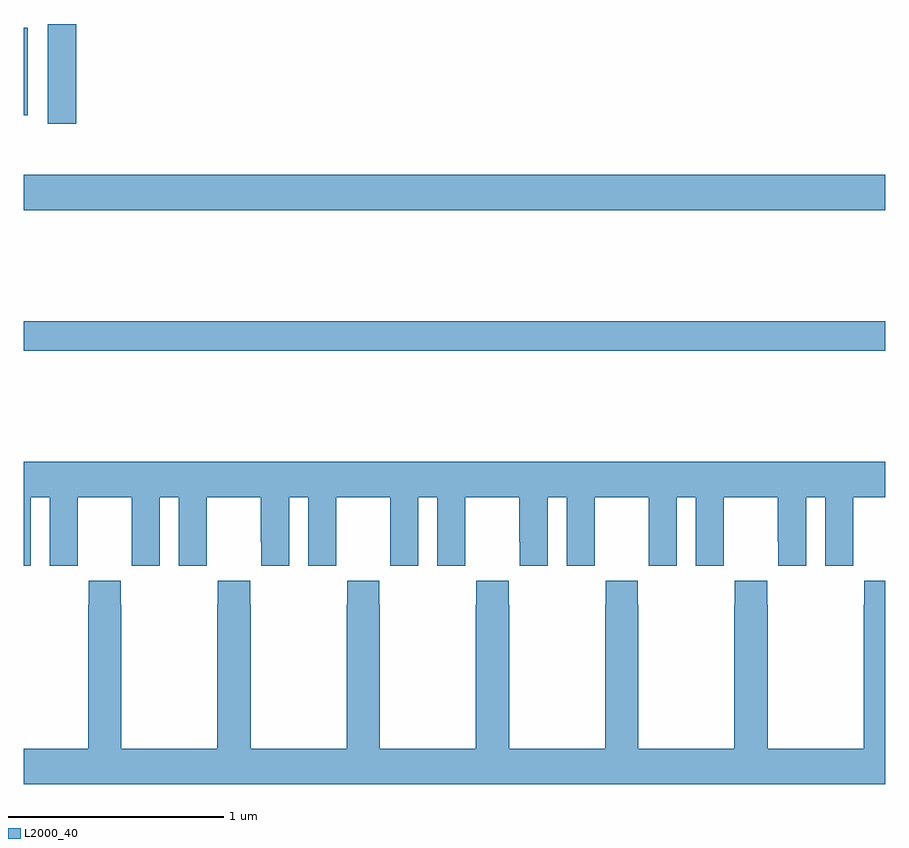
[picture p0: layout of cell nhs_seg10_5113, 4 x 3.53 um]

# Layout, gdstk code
import gdstk
lib = gdstk.Library(unit=1e-6, precision=1e-09)
def R(c, l, rs):  # rectangles x0, y0, x1, y1
    for r in rs: c.add(gdstk.rectangle(r[:2], r[2:], *l))
def P(c, l, *ps):  # polygons
    for p in ps: c.add(gdstk.Polygon(p, *l))
L2000_40 = (2000, 40)

nhs_seg10_5113 = lib.new_cell('nhs_seg10_5113')
R(nhs_seg10_5113, L2000_40, [(407,1312.984,411,1313.12), (407,1313.636,411,1313.8), (407.111,1314.036,407.243,1314.5), (407,1314.077,407.02,1314.482)])
P(nhs_seg10_5113, L2000_40, [(407,1311.984),(407.032,1311.984),(407.032,1312.304),(407.12,1312.304),(407.12,1311.984),(407.25,1311.984),(407.25,1312.096),(407.251,1312.096),(407.251,1312.304),(407.501,1312.304),(407.501,1312.096),(407.502,1312.096),(407.502,1311.984),(407.632,1311.984),(407.632,1312.304),(407.72,1312.304),(407.72,1311.984),(407.85,1311.984),(407.85,1312.096),(407.851,1312.096),(407.851,1312.304),(408.101,1312.304),(408.101,1312.096),(408.102,1312.096),(408.102,1311.984),(408.232,1311.984),(408.232,1312.304),(408.32,1312.304),(408.32,1311.984),(408.45,1311.984),(408.45,1312.096),(408.451,1312.096),(408.451,1312.304),(408.701,1312.304),(408.701,1312.096),(408.702,1312.096),(408.702,1311.984),(408.832,1311.984),(408.832,1312.304),(408.92,1312.304),(408.92,1311.984),(409.05,1311.984),(409.05,1312.096),(409.051,1312.096),(409.051,1312.304),(409.301,1312.304),(409.301,1312.096),(409.302,1312.096),(409.302,1311.984),(409.432,1311.984),(409.432,1312.304),(409.52,1312.304),(409.52,1311.984),(409.65,1311.984),(409.65,1312.096),(409.651,1312.096),(409.651,1312.304),(409.901,1312.304),(409.901,1312.096),(409.902,1312.096),(409.902,1311.984),(410.032,1311.984),(410.032,1312.304),(410.12,1312.304),(410.12,1311.984),(410.25,1311.984),(410.25,1312.096),(410.251,1312.096),(410.251,1312.304),(410.501,1312.304),(410.501,1312.096),(410.502,1312.096),(410.502,1311.984),(410.632,1311.984),(410.632,1312.304),(410.72,1312.304),(410.72,1311.984),(410.85,1311.984),(410.85,1312.096),(410.851,1312.096),(410.851,1312.304),(411,1312.304),(411,1312.468),(407,1312.468)],
  [(407.451,1311.803),(407.451,1311.916),(407.301,1311.916),(407.301,1311.803),(407.299,1311.803),(407.299,1311.136),(407,1311.136),(407,1310.972),(411,1310.972),(411,1311.916),(410.901,1311.916),(410.901,1311.803),(410.899,1311.803),(410.899,1311.136),(410.454,1311.136),(410.454,1311.803),(410.451,1311.803),(410.451,1311.916),(410.301,1311.916),(410.301,1311.803),(410.299,1311.803),(410.299,1311.136),(409.854,1311.136),(409.854,1311.803),(409.851,1311.803),(409.851,1311.916),(409.701,1311.916),(409.701,1311.803),(409.699,1311.803),(409.699,1311.136),(409.254,1311.136),(409.254,1311.803),(409.251,1311.803),(409.251,1311.916),(409.101,1311.916),(409.101,1311.803),(409.099,1311.803),(409.099,1311.136),(408.654,1311.136),(408.654,1311.803),(408.651,1311.803),(408.651,1311.916),(408.501,1311.916),(408.501,1311.803),(408.499,1311.803),(408.499,1311.136),(408.054,1311.136),(408.054,1311.803),(408.051,1311.803),(408.051,1311.916),(407.901,1311.916),(407.901,1311.803),(407.899,1311.803),(407.899,1311.136),(407.454,1311.136),(407.454,1311.803)])

lib.write_gds('nhs_seg10_5113.gds')
